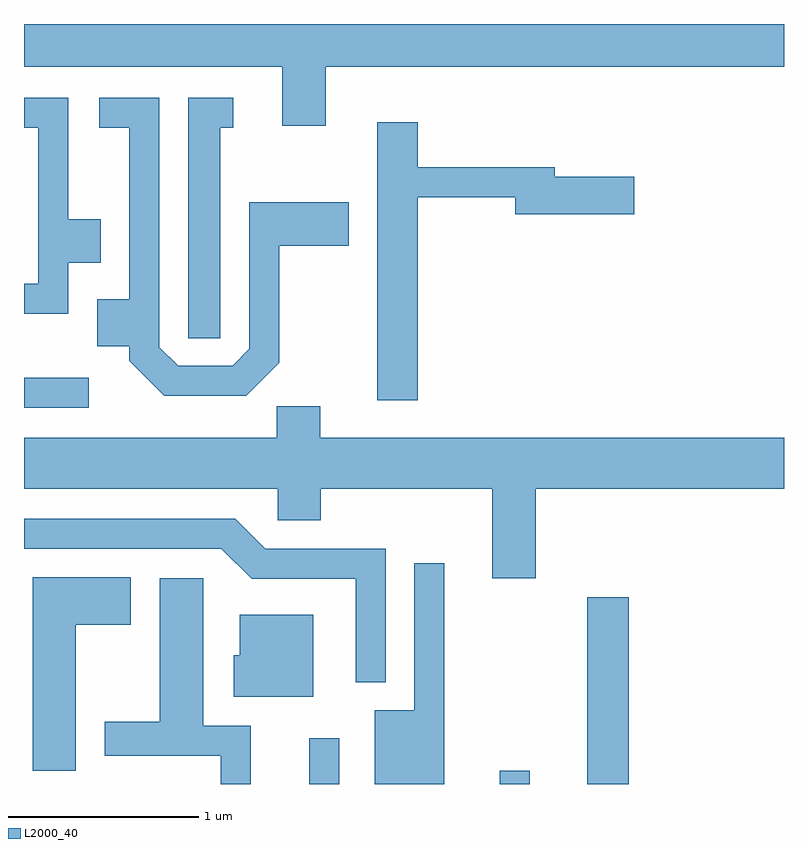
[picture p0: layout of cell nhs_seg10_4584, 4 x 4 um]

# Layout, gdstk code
import gdstk
lib = gdstk.Library(unit=1e-6, precision=1e-09)
def R(c, l, rs):  # rectangles x0, y0, x1, y1
    for r in rs: c.add(gdstk.rectangle(r[:2], r[2:], *l))
def P(c, l, *ps):  # polygons
    for p in ps: c.add(gdstk.Polygon(p, *l))
L2000_40 = (2000, 40)

nhs_seg10_4584 = lib.new_cell('nhs_seg10_4584')
R(nhs_seg10_4584, L2000_40, [(321.111,2174.522,321.269,2174.763), (322.116,2174.522,322.274,2174.593), (322.576,2174.522,322.794,2175.504), (319.611,2176.501,319.953,2176.659)])
P(nhs_seg10_4584, L2000_40, [(321.199,2178.296),(323.611,2178.296),(323.611,2178.522),(319.611,2178.522),(319.611,2178.296),(320.971,2178.296),(320.971,2177.986),(321.199,2177.986)],
  [(319.844,2177.266),(320.014,2177.266),(320.014,2177.494),(319.844,2177.494),(319.844,2178.134),(319.611,2178.134),(319.611,2177.976),(319.686,2177.976),(319.686,2177.154),(319.611,2177.154),(319.611,2176.996),(319.844,2176.996)],
  [(320.644,2177.976),(320.713,2177.976),(320.713,2178.134),(320.476,2178.134),(320.476,2176.868),(320.644,2176.868)],
  [(320.954,2176.739),(320.954,2177.356),(321.319,2177.356),(321.319,2177.584),(320.796,2177.584),(320.796,2176.812),(320.709,2176.724),(320.422,2176.724),(320.324,2176.822),(320.324,2178.134),(320.008,2178.134),(320.008,2177.976),(320.166,2177.976),(320.166,2177.074),(319.996,2177.074),(319.996,2176.826),(320.166,2176.826),(320.166,2176.749),(320.349,2176.566),(320.782,2176.566)],
  [(321.684,2177.611),(322.196,2177.611),(322.196,2177.521),(322.824,2177.521),(322.824,2177.719),(322.404,2177.719),(322.404,2177.769),(321.684,2177.769),(321.684,2178.004),(321.471,2178.004),(321.471,2176.541),(321.684,2176.541)],
  [(322.304,2176.076),(323.611,2176.076),(323.611,2176.344),(321.169,2176.344),(321.169,2176.509),(320.941,2176.509),(320.941,2176.344),(319.611,2176.344),(319.611,2176.076),(320.946,2176.076),(320.946,2175.911),(321.174,2175.911),(321.174,2176.076),(322.076,2176.076),(322.076,2175.606),(322.304,2175.606)],
  [(321.514,2175.759),(320.882,2175.759),(320.722,2175.919),(319.611,2175.919),(319.611,2175.761),(320.649,2175.761),(320.809,2175.601),(321.356,2175.601),(321.356,2175.058),(321.514,2175.058)],
  [(321.824,2175.683),(321.666,2175.683),(321.666,2174.909),(321.456,2174.909),(321.456,2174.522),(321.824,2174.522)],
  [(319.884,2175.361),(320.174,2175.361),(320.174,2175.609),(319.656,2175.609),(319.656,2174.591),(319.884,2174.591)],
  [(320.804,2174.829),(320.554,2174.829),(320.554,2175.604),(320.326,2175.604),(320.326,2174.849),(320.036,2174.849),(320.036,2174.671),(320.646,2174.671),(320.646,2174.522),(320.804,2174.522)],
  [(321.134,2175.414),(320.746,2175.414),(320.746,2175.199),(320.716,2175.199),(320.716,2174.981),(321.134,2174.981)])

lib.write_gds('nhs_seg10_4584.gds')
